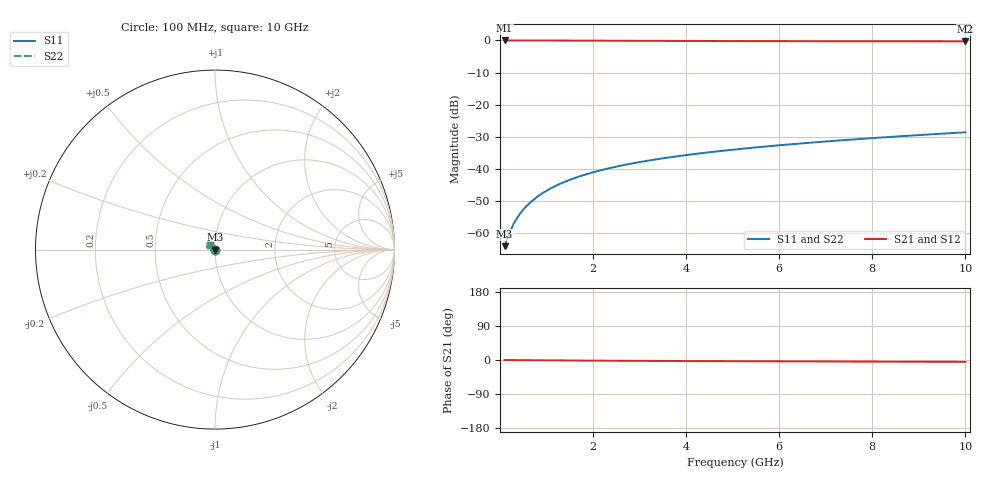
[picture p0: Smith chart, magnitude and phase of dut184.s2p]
! Touchstone file exported from HFSS 2024.1.0
!  File:  C:/UserFiles/LocalFiles/RDL_TSV_Batchsim/temp_TSV1_184_1779384508.aedt
!  Generated:  01:33:31 AM May 22, 2026
!  Design:  TSV1
!  Project:  temp_TSV1_184_1779384508
!  Setup:  Setup1
!  Solution:  Sweep
! Variables:
!  dtsv = 5.41um
!  hbump = 3um
!  htsv = 70.51um
!  lrdl = 252.1521522um
!  p = 40
!  p1 = 52.86um
!  t = 500um
!  trdl = 3um
!  wrdl = 24.89489489um
# GHz S MA R 50.000000
! Terminal data exported
! Port[1] = TSV22_T1
! Port[2] = TSV22_T2
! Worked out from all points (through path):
!   100 points, 100 MHz to 10 GHz, reference 50 ohm
!   highest |S21| = 0.00 dB at 100 MHz (marker M1); lowest = -0.3 dB at 10 GHz (marker M2)
!   lowest |S11| = -64.0 dB at 100 MHz (marker M3), VSWR 1.00, Z = 50 - j0.0476 ohm
!   |S11| at or under -10 dB: start of sweep to end of sweep
!   |S22| runs from -64.0 to -28.6 dB; largest |S21 - S12| = 5.1e-15
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0.1  0.0006331 -48.7  0.9995 -0.1  0.9995 -0.1  0.0006331 -48.7
! Gamma 0 0 0 0
! Port Impedance 50 0 50 0
0.2  0.001011 -69.8  0.9995 -0.2  0.9995 -0.2  0.001011 -69.8
0.3  0.001438 -80.5  0.9993 -0.3  0.9993 -0.3  0.001438 -80.5
0.4  0.001881 -87.4  0.9992 -0.4  0.9992 -0.4  0.001881 -87.4
0.5  0.002332 -92.7  0.999 -0.5  0.999 -0.5  0.002332 -92.7
0.6  0.002786 -97.0  0.9987 -0.6  0.9987 -0.6  0.002786 -97.0
0.7  0.003241 -100.8  0.9985 -0.6  0.9985 -0.6  0.003241 -100.8
0.8  0.003696 -104.3  0.9981 -0.7  0.9981 -0.7  0.003696 -104.3
0.9  0.004148 -107.5  0.9978 -0.8  0.9978 -0.8  0.004148 -107.5
1  0.004599 -110.5  0.9974 -0.9  0.9974 -0.9  0.004599 -110.5
1.2  0.00549 -116.2  0.9966 -1.1  0.9966 -1.1  0.00549 -116.2
1.5  0.006802 -124.1  0.9952 -1.3  0.9952 -1.3  0.006802 -124.1
1.8  0.008078 -131.4  0.9936 -1.5  0.9936 -1.5  0.008078 -131.4
2.1  0.009318 -138.3  0.992 -1.7  0.992 -1.7  0.009318 -138.3
2.5  0.01092 -146.8  0.9897 -2.0  0.9897 -2.0  0.01092 -146.8
2.9  0.01246 -154.6  0.9875 -2.2  0.9875 -2.2  0.01246 -154.6
3.4  0.01433 -163.4  0.9849 -2.5  0.9849 -2.5  0.01433 -163.4
4.2  0.0172 -175.7  0.9812 -2.8  0.9812 -2.8  0.0172 -175.7
5.1  0.02034 172.8  0.9777 -3.2  0.9777 -3.2  0.02034 172.8
6.7  0.02582 157.0  0.9732 -3.8  0.9732 -3.8  0.02582 157.0
8.4  0.03167 144.9  0.97 -4.4  0.97 -4.4  0.03167 144.9
10  0.03726 136.3  0.9677 -5.0  0.9677 -5.0  0.03726 136.3
